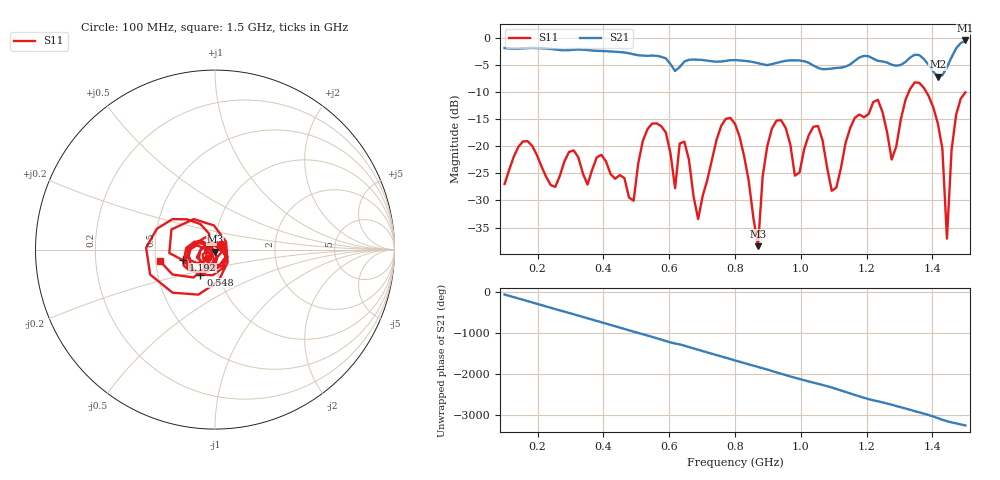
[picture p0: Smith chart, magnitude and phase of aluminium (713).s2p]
! NanoVNA-App
! Date: 2025-09-25 15:00:50
! Start: 100MHz Stop: 1,5GHz Points: 101
! S-Parameter data: F S11 S21 S12 S22
# Hz S RI R 50
!  Frequency  S11_Real  S11_Imag  S21_Real  S21_Imag  S12_Real  S12_Imag  S22_Real  S22_Imag
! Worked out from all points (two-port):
!   101 points, 100 MHz to 1.5 GHz, reference 50 ohm
!   highest |S21| = -0.51 dB at 1.5 GHz (marker M1); lowest = -7.2 dB at 1.416 GHz (marker M2)
!   |S21| within 3 dB of the highest: start of sweep to 575 MHz; 1.459 GHz to end of sweep (the widest 2 of 4)
!   lowest |S11| = -38.4 dB at 870 MHz (marker M3), VSWR 1.02, Z = 50 - j1.2 ohm
!   |S11| at or under -10 dB: start of sweep to 1.328 GHz; 1.381 GHz to end of sweep
!   S12 and S22 are empty: the file has one direction only
!   S11 on the Smith chart (normalised r, x): 100 MHz: 1.07, +0.06; 548 MHz: 0.82, -0.23; 1.192 GHz: 0.70, -0.08; 1.5 GHz: 0.53, -0.07
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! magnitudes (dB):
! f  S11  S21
! 100 MHz  -27.0  -1.9
! 156 MHz  -19.1  -2.0
! 338 MHz  -25.1  -2.2
! 492 MHz  -30.0  -3.1
! 548 MHz  -15.8  -3.3
! 576 MHz  -16.3  -3.5
! 618 MHz  -27.7  -6.1
! 646 MHz  -19.2  -4.4
! 688 MHz  -33.4  -4.1
! 800 MHz  -15.9  -4.1
! 870 MHz  -38.4  -4.7
! 912 MHz  -16.8  -4.9
! 982 MHz  -25.4  -4.2
! 1.038 GHz  -16.4  -5.1
! 1.094 GHz  -28.2  -5.7
! 1.192 GHz  -14.7  -3.4
! 1.276 GHz  -22.5  -5.0
! 1.346 GHz  -8.2  -3.1
! 1.416 GHz  -15.7  -7.2
! 1.444 GHz  -37.0  -5.4
! 1.458 GHz  -20.7  -3.6
! 1.5 GHz  -10.1  -0.5
